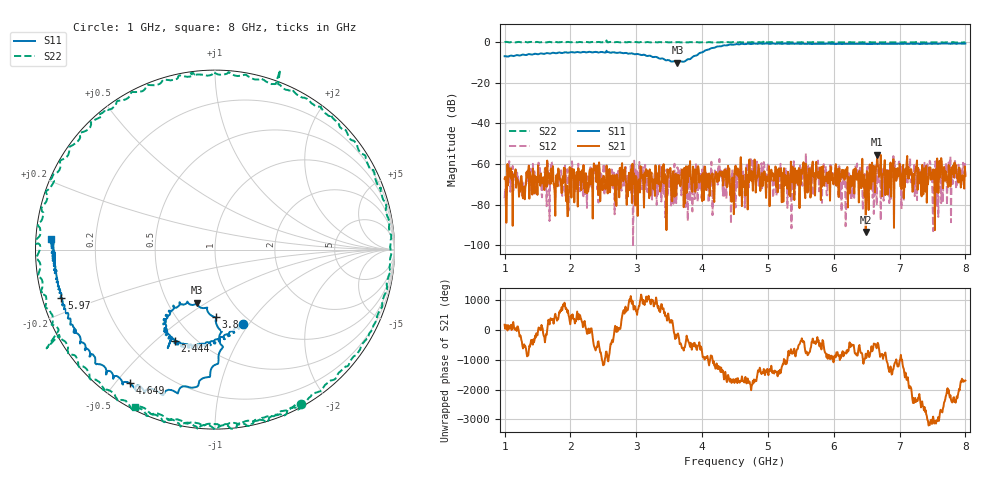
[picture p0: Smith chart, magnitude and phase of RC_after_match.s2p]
!Keysight Technologies N9917A: A.08.15
!Date: Friday, 06 October 2017 10:46:29
!Timezone: (GMT-08:00) Pacific Time (US & Canada)
!Model: N9917A
!Serial: MY53102735
!GPS Latitude:
!GPS Longitude:
!GPS TimeStamp: 0001-01-01 00:00:00Z
!GPS Seconds Since Last Read: 0
!CHECKSUM:1932414272
!Correction: S11(ON U*)S21(ON U*)S12(ON U*)S22(ON U*)
!S2P File: Measurements:S11,S21,S12,S22:
# Hz S DB R 50
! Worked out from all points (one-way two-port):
!   801 points, 1 GHz to 8 GHz, reference 50 ohm
!   highest |S21| = -55.43 dB at 6.661 GHz (marker M1); lowest = -93.4 dB at 6.486 GHz (marker M2)
!   lowest |S11| = -10.1 dB at 3.625 GHz (marker M3), VSWR 1.91, Z = 34.7 - j22.8 ohm
!   |S11| at or under -10 dB: 3.615 GHz to 3.639 GHz (24.53 MHz wide, 0.676 % of centre)
!   |S22| runs from -0.3 to 0.7 dB; largest |S21 - S12| = 0.0023
!   S11 on the Smith chart (normalised r, x): 1 GHz: 0.91, -0.94; 2.444 GHz: 0.39, -0.58; 3.8 GHz: 0.76, -0.66; 4.649 GHz: 0.08, -0.54; 5.97 GHz: 0.05, -0.15; 8 GHz: 0.04, +0.03
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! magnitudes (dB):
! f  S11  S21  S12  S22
! 1 GHz  -7.0  -67.2  -76.9  -0.1
! 1.087 GHz  -6.8  -66.4  -73.7  -0.1
! 1.271 GHz  -6.2  -75.7  -74.3  -0.2
! 1.683 GHz  -5.7  -69.7  -88.0  0.0
! 1.962 GHz  -5.3  -85.6  -78.0  0.0
! 2.172 GHz  -5.1  -63.1  -72.8  -0.1
! 2.444 GHz  -5.1  -62.5  -68.6  -0.1
! 3.336 GHz  -7.9  -69.9  -64.2  -0.1
! 3.415 GHz  -8.4  -60.1  -74.6  -0.2
! 3.625 GHz  -10.1  -66.0  -61.6  -0.1
! 3.8 GHz  -8.5  -64.5  -68.9  -0.2
! 4.229 GHz  -2.3  -68.9  -64.9  -0.2
! 4.5 GHz  -1.2  -62.3  -73.1  -0.2
! 4.649 GHz  -1.1  -68.6  -81.3  -0.1
! 5.673 GHz  -1.0  -60.5  -64.4  -0.1
! 5.97 GHz  -0.9  -67.9  -64.4  -0.1
! 6.486 GHz  -1.0  -93.4  -70.1  -0.2
! 6.661 GHz  -1.0  -55.4  -66.1  -0.2
! 6.836 GHz  -1.0  -65.1  -63.6  -0.2
! 6.906 GHz  -0.9  -57.6  -56.1  -0.2
! 7.598 GHz  -0.9  -67.1  -68.4  -0.2
! 8 GHz  -0.8  -65.9  -65.7  -0.1
